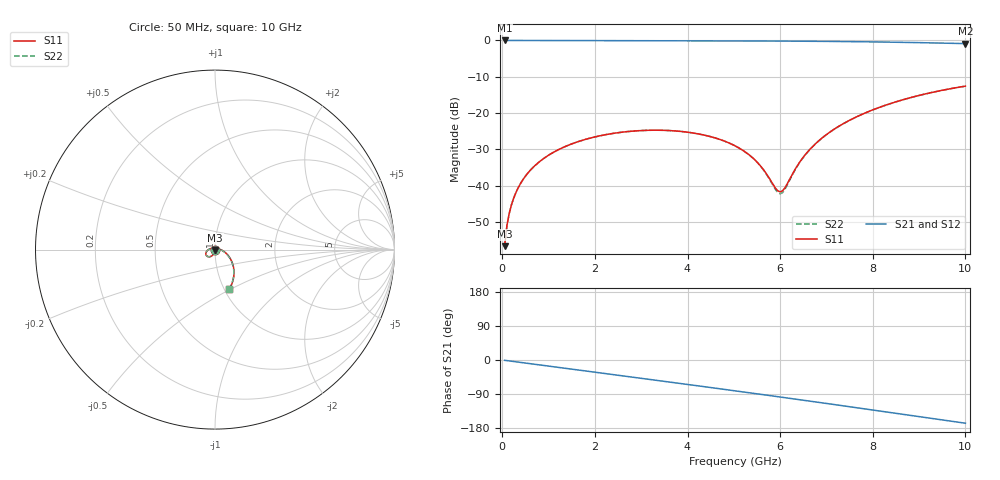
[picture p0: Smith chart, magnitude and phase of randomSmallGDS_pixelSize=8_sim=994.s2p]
! freq	dB(S11)	phase(S11)	dB(S12)	phase(S12)
!  dB(S21)	phase(S21)	dB(S22)	phase(S22)
!S-par simulation data
#  GHz  S  DB  R 50
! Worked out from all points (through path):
!   200 points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, 50 MHz to 10 GHz, reference 50 ohm
!   highest |S21| = 0.00 dB at 50 MHz (marker M1); lowest = -0.9 dB at 10 GHz (marker M2)
!   group delay of S21, straight-line fit = 46.3 ps
!   lowest |S11| = -56.6 dB at 50 MHz (marker M3), VSWR 1.00, Z = 50 - j0.147 ohm
!   |S11| at or under -10 dB: start of sweep to end of sweep
!   |S22| runs from -56.6 to -12.6 dB; largest |S21 - S12| = 0
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0.05  -56.63 -93.7  -0.00 -0.8  -0.00 -0.8  -56.63 -94.2
0.1  -50.98 -94.5  -0.00 -1.6  -0.00 -1.6  -51.00 -94.7
0.2  -45.17 -95.2  -0.00 -3.2  -0.00 -3.2  -45.17 -95.2
0.35  -40.39 -97.1  -0.00 -5.7  -0.00 -5.7  -40.39 -97.1
0.5  -37.35 -99.3  -0.01 -8.1  -0.01 -8.1  -37.35 -99.3
0.7  -34.51 -102.5  -0.01 -11.3  -0.01 -11.3  -34.51 -102.5
1  -31.58 -107.4  -0.02 -16.1  -0.02 -16.1  -31.58 -107.4
1.75  -27.40 -119.9  -0.04 -28.2  -0.04 -28.2  -27.40 -119.8
2.55  -25.31 -133.3  -0.06 -41.0  -0.06 -41.0  -25.31 -133.2
3.4  -24.72 -147.8  -0.08 -54.7  -0.08 -54.7  -24.72 -147.6
4.35  -26.03 -165.4  -0.10 -70.2  -0.10 -70.2  -26.03 -165.1
5.05  -29.17 178.5  -0.12 -81.7  -0.12 -81.7  -29.18 179.1
5.5  -33.46 161.8  -0.14 -89.2  -0.14 -89.2  -33.50 162.9
5.9  -40.68 114.6  -0.16 -95.9  -0.16 -95.9  -41.06 116.3
6  -41.68 85.8  -0.17 -97.6  -0.17 -97.6  -42.21 86.2
6.1  -40.61 56.1  -0.18 -99.3  -0.18 -99.3  -41.05 54.9
6.45  -32.98 9.7  -0.20 -105.3  -0.20 -105.3  -33.08 8.4
6.7  -29.21 -2.3  -0.22 -109.5  -0.22 -109.5  -29.26 -3.3
7.4  -22.65 -21.7  -0.30 -121.6  -0.30 -121.6  -22.67 -22.2
8.35  -17.51 -40.9  -0.46 -138.1  -0.46 -138.1  -17.51 -41.3
9.2  -14.53 -56.5  -0.65 -152.9  -0.65 -152.9  -14.53 -56.9
10  -12.58 -70.6  -0.87 -166.8  -0.87 -166.8  -12.58 -70.9
